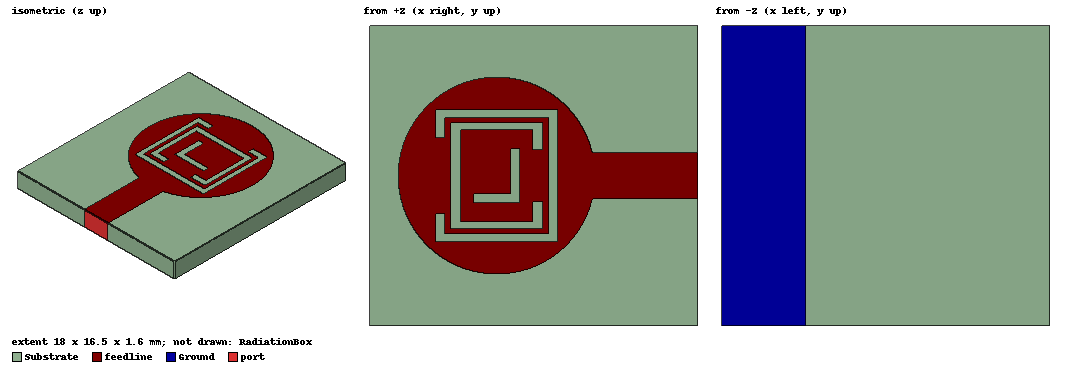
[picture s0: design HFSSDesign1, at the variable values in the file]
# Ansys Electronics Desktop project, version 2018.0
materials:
  vacuum: permittivity=1
  FR4_epoxy: permittivity=4.4 dielectric_loss_tangent=0.02
  air: permittivity=1.0006 permeability=1.0000004

design HFSSDesign1 (HFSS, DrivenModal, model units mm)
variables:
  l = 18
  w = 16.5mm
  len = 18mm
  lgnd = 4.6mm
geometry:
  Substrate [FR4_epoxy] = box(corner=(-len/2, -w/2, 0mm), size=(len, w, 1.6mm))
  Ground = rectangle(corner=(len/2-lgnd, -w/2, 0mm), x_size=lgnd, y_size=w)
  Patch = circle(normal=Z, centre=(-2.03mm, 0mm, 1.6mm), radius=5.4mm)
  feedline = rectangle(corner=(len/2, -1.25mm, 1.6mm), x_size=-5.8mm, y_size=2.5mm)
  feedline.unite(Patch)
  Rectangle1 = rectangle(corner=(1.32mm, -3.6mm, 1.6mm), x_size=-6.7mm, y_size=7.2mm)
  Rectangle2 = rectangle(corner=(0.82mm, -3.2mm, 1.6mm), x_size=-5.7mm, y_size=6.4mm)
  Rectangle1.subtract(Rectangle2)
  Rectangle3 = rectangle(corner=(0.47mm, -2.9mm, 1.6mm), x_size=-5mm, y_size=5.8mm)
  Rectangle4 = rectangle(corner=(-0.03mm, -2.5mm, 1.6mm), x_size=-4mm, y_size=5mm)
  Rectangle3.subtract(Rectangle4)
  Rectangle5 = rectangle(corner=(-0.78mm, -1.5mm, 1.6mm), x_size=-2.5mm, y_size=3mm)
  Rectangle6 = rectangle(corner=(-1.28mm, -1mm, 1.6mm), x_size=-2mm, y_size=2.5mm)
  Rectangle5.subtract(Rectangle6)
  Rectangle7 = rectangle(corner=(-5.38mm, -2.1mm, 1.6mm), x_size=0.5mm, y_size=4.2mm)
  Rectangle1.subtract(Rectangle7)
  Rectangle8 = rectangle(corner=(0.47mm, -1.4mm, 1.6mm), x_size=-0.5mm, y_size=2.8mm)
  Rectangle3.subtract(Rectangle8)
  feedline.subtract(Rectangle1)
  feedline.subtract(Rectangle3)
  feedline.subtract(Rectangle5)
  port = rectangle(corner=(9mm, -1.25mm, 1.6mm), y_size=2.5mm, z_size=-1.6mm)
  RadiationBox [air] = box(corner=(-14mm, -13mm, -10mm), size=(30mm, 27mm, 30mm))
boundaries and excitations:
  PerfE1: Perfect E Objects=[feedline, Ground]
  Rad1: Radiation Objects=RadiationBox
  1: Lumped Port Objects=port Modes{Mode1{IntLine{middle of port.edge(z opposite corner) -> middle of port.edge(z at corner)} CharImp=Zpi RenormImp=50ohm}} Impedance=50ohm
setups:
  Setup1: HfssDriven Frequency=6.8GHz MaxDeltaS=0.02 MaximumPasses=20 MinimumPasses=1 MinimumConvergedPasses=1 PercentRefinement=30 BasisOrder=1 PortAccuracy=2
    sweep Sweep: 2GHz to 10GHz, 451 points; Type=Fast SaveFields
    sweep Sweep1: 5GHz to 8GHz, 451 points; Type=Fast SaveFields
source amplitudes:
  1:1: 1W 0deg
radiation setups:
  Infinite Sphere1: Infinite Sphere Theta=0deg..180deg step 2deg Phi=0deg..360deg step 2deg
  Infinite Sphere2: Infinite Sphere Theta=0deg..360deg step 2deg Phi=0deg..90deg step 90deg
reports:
  S Parameter Plot 1: dB(S(1,1)) vs Freq on Setup1 : Sweep; markers MX1 at x=3.5232951e+09, MX2 at x=5.0087779e+09, MX3 at x=5.9054693e+09, MX4 at x=7.2397029e+09
  VSWR Plot 1: VSWR(1) vs Freq on Setup1 : Sweep; markers MX1 at x=3.5130785e+09, MX2 at x=5.0154259e+09, MX3 at x=5.8739101e+09, MX4 at x=7.2367539e+09
  rE Plot 1: dB(rETotal) vs Phi, Theta on Setup1 : LastAdaptive, Infinite Sphere1 [Freq=6.8GHz]
  Gain Plot 3: dB(GainTotal) vs Theta on Setup1 : Sweep1, Infinite Sphere2 [Phi=all Freq=8GHz]
  Gain Plot 4: dB(GainTotal) vs Theta on Setup1 : Sweep1, Infinite Sphere2 [Phi=all Freq=5GHz]
